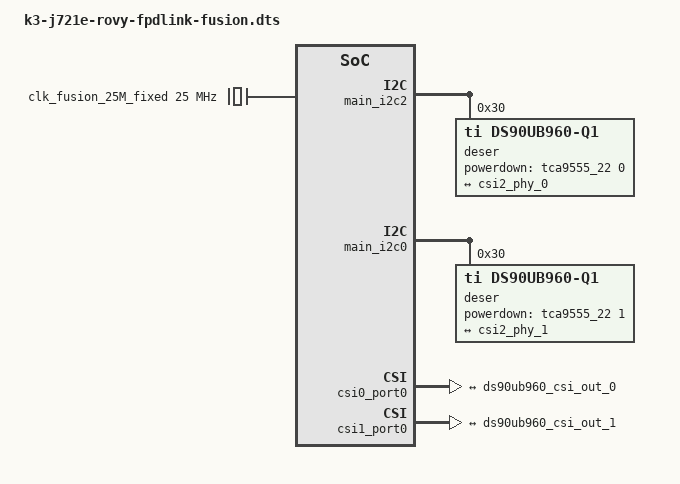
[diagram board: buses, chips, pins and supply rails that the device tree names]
// SPDX-License-Identifier: GPL-2.0
/*
 * DT Overlay for Technexion AR series camera interfaced with CSI2 on ROVY-Nano board.
 * Copyright (C) 2021 Texas Instruments Incorporated - http://www.ti.com/
 */

/dts-v1/;
/plugin/;

#include <dt-bindings/gpio/gpio.h>
#include <dt-bindings/interrupt-controller/irq.h>
#include <dt-bindings/pinctrl/k3.h>

/ {
	fragment@101 {
		target-path = "/";

		__overlay__ {
			clk_fusion_25M_fixed: fixed-clock-25M {
				compatible = "fixed-clock";
				#clock-cells = <0>;
				clock-frequency = <25000000>;
			};
		};
	};
};

&main_i2c2 {
	#address-cells = <1>;
	#size-cells = <0>;

	pca9554_0: pca9554_csi0@25 {
		compatible = "nxp,pca9554";
		reg = <0x25>;
		gpio-controller;
		#gpio-cells = <2>;
		status = "disabled";
	};
	pca9555_22: pca9555_0@22 {
		compatible = "nxp,pca9554";
		reg = <0x22>;
		gpio-controller;
		#gpio-cells = <2>;
		status = "disabled";
	};
	deser@30 {
		compatible = "ti,ds90ub960-q1";

		reg-names = "main",
			"rxport0", "rxport1", "rxport2", "rxport3",
			"ser0", "ser1", "ser2", "ser3";
		reg = <0x30>,
			<0x50>, <0x51>, <0x52>, <0x53>,
			<0x54>, <0x55>, <0x56>, <0x57>;

		clocks = <&clk_fusion_25M_fixed>;

		i2c-alias-pool = /bits/ 16 <0x5a 0x5b 0x5c 0x5d 0x5e 0x5f 0x60 0x61 0x62 0x63 0x64 0x65 0x66 0x67 0x68 0x69>;

		powerdown-gpios = <&tca9555_22 0 GPIO_ACTIVE_HIGH>;

		data-rate = <1600000000>;

		status = "okay";

		ds90ub960_ports_0: ports {
			#address-cells = <1>;
			#size-cells = <0>;
			status = "okay";

			/* CSI-2 */
			port@4 {
				reg = <4>;
				ds90ub960_csi_out_0: endpoint {
					clock-lanes = <0>;
					data-lanes = <1 2 3 4>;
					remote-endpoint = <&csi2_phy_0>;
					status = "okay";
				};
			};
		};

		ds90ub960_atr_0: i2c-atr {
			#address-cells = <1>;
			#size-cells = <0>;
			status = "okay";
		};
	};
};

&main_i2c0 {
	#address-cells = <1>;
	#size-cells = <0>;

	pca9554_1: pca9554_1@25 {
		compatible = "nxp,pca9554";
		reg = <0x25>;
		gpio-controller;
		#gpio-cells = <2>;
		status = "disabled";
	};
	deser@30 {
		compatible = "ti,ds90ub960-q1";

		reg-names = "main",
			"rxport0", "rxport1", "rxport2", "rxport3",
			"ser0", "ser1", "ser2", "ser3";
		reg = <0x30>,
			<0x50>, <0x51>, <0x52>, <0x53>,
			<0x54>, <0x55>, <0x56>, <0x57>;

		clocks = <&clk_fusion_25M_fixed>;

		i2c-alias-pool = /bits/ 16 <0x5a 0x5b 0x5c 0x5d 0x5e 0x5f 0x60 0x61 0x62 0x63 0x64 0x65 0x66 0x67 0x68 0x69>;
		// i2c-alias-pool = /bits/ 8 <0x5a 0x5b 0x5c 0x5d 0x5e 0x5f 0x60 0x61>;

		powerdown-gpios = <&tca9555_22 1 GPIO_ACTIVE_HIGH>;

		data-rate = <1600000000>;

		status = "okay";

		ds90ub960_ports_1: ports {
			#address-cells = <1>;
			#size-cells = <0>;
			status = "okay";

			/* CSI-2 */
			port@4 {
				reg = <4>;
				ds90ub960_csi_out_1: endpoint {
					clock-lanes = <0>;
					data-lanes = <1 2 3 4>;
					remote-endpoint = <&csi2_phy_1>;
					status = "okay";
				};
			};
		};

		ds90ub960_atr_1: i2c-atr {
			#address-cells = <1>;
			#size-cells = <0>;
			status = "okay";
		};
	};
};

&csi0_port0 {
	status = "okay";

	csi2_phy_0: endpoint {
		remote-endpoint = <&ds90ub960_csi_out_0>;
		clock-lanes = <0>;
		bus-type = <4>; /* CSI2 DPHY. */
		data-lanes = <1 2 3 4>;
		status = "okay";
	};
};

&csi1_port0 {
	status = "okay";

	csi2_phy_1: endpoint {
		remote-endpoint = <&ds90ub960_csi_out_1>;
		clock-lanes = <0>;
		bus-type = <4>; /* CSI2 DPHY. */
		data-lanes = <1 2 3 4>;
		status = "okay";
	};
};
